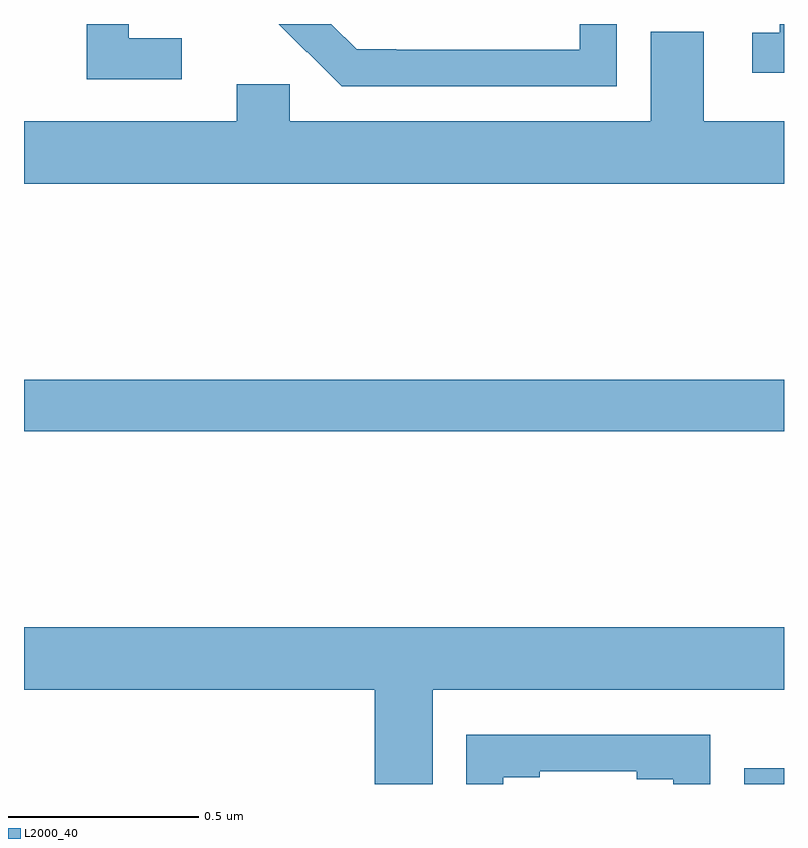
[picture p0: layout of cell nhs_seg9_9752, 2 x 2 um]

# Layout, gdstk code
import gdstk
lib = gdstk.Library(unit=1e-6, precision=1e-09)
def R(c, l, rs):  # rectangles x0, y0, x1, y1
    for r in rs: c.add(gdstk.rectangle(r[:2], r[2:], *l))
def P(c, l, *ps):  # polygons
    for p in ps: c.add(gdstk.Polygon(p, *l))
L2000_40 = (2000, 40)

nhs_seg9_9752 = lib.new_cell('nhs_seg9_9752')
R(nhs_seg9_9752, L2000_40, [(235.896,1201.5,236,1201.541), (234,1202.428,236,1202.564)])
P(nhs_seg9_9752, L2000_40, [(235.56,1203.5),(235.463,1203.5),(235.463,1203.432),(234.979,1203.432),(234.979,1203.433),(234.876,1203.433),(234.808,1203.5),(234.67,1203.5),(234.744,1203.426),(234.745,1203.427),(234.836,1203.336),(235.56,1203.336)],
  [(236,1203.5),(235.989,1203.5),(235.989,1203.477),(235.917,1203.477),(235.917,1203.372),(236,1203.372)],
  [(234.415,1203.463),(234.275,1203.463),(234.275,1203.5),(234.165,1203.5),(234.165,1203.354),(234.415,1203.354)],
  [(236,1203.244),(235.789,1203.244),(235.789,1203.48),(235.649,1203.48),(235.649,1203.244),(234.699,1203.244),(234.699,1203.342),(234.56,1203.342),(234.56,1203.244),(234,1203.244),(234,1203.08),(236,1203.08)],
  [(235.075,1201.748),(236,1201.748),(236,1201.912),(234,1201.912),(234,1201.748),(234.923,1201.748),(234.923,1201.5),(235.075,1201.5)],
  [(235.261,1201.518),(235.357,1201.518),(235.357,1201.533),(235.613,1201.533),(235.613,1201.513),(235.709,1201.513),(235.709,1201.5),(235.806,1201.5),(235.806,1201.629),(235.164,1201.629),(235.164,1201.5),(235.261,1201.5)])

lib.write_gds('nhs_seg9_9752.gds')
